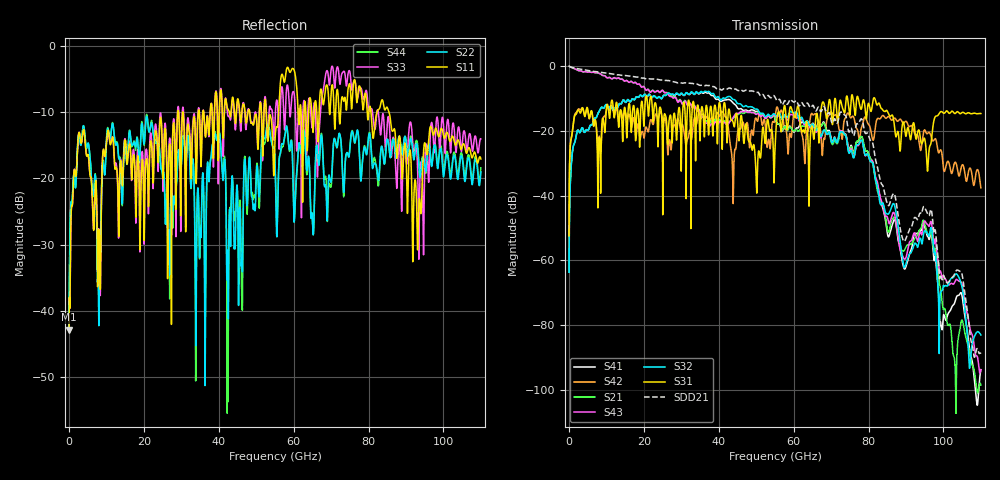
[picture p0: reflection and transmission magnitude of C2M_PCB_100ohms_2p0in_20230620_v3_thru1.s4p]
! Info: Touchstone file created by Circ.  Input file=C2M_PCB_100ohms_2p0in_20230620_v3.circ
# Hz S RI R 50
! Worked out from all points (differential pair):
!   11000 points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, 10 MHz to 110 GHz, reference 50 ohm
!   strongest paths, dB at 10 MHz, 27.51 GHz, 55.01 GHz, 82.51 GHz, 110 GHz:
!     S31: -52.5, -23.6, -25.6, -11.7, -14.7
!     S32: -63.6, -8.6, -15.0, -38.2, -83.0
!     S43: -0.1, -9.6, -15.4, -36.7, -93.8
!     S21: -0.1, -9.4, -15.9, -39.2, -98.5
!     S42: -52.3, -21.8, -15.9, -16.2, -37.6
!     S41: -63.6, -8.8, -16.1, -38.0, -93.7
!   taken as a pair (ports 3,1 in; 4,2 out), SDD21 dB: -0.1, -4.8, -9.6, -32.0, -88.8
!   lowest |S11| = -42.9 dB at 10 MHz (marker M1), VSWR 1.01, Z = 50.7 + j0.246 ohm
!   |S11| at or under -10 dB: start of sweep to 29.01 GHz; 30.43 GHz to 34.51 GHz (4.084 GHz wide, 12.6 % of centre); 85.46 GHz to end of sweep (the widest 3 of 26)
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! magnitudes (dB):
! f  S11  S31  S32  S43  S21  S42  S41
! 10 MHz  -42.9  -52.5  -63.6  -0.1  -0.1  -52.3  -63.6
! 1.93 GHz  -19.2  -14.8  -21.3  -1.0  -1.0  -14.4  -21.2
! 8.46 GHz  -31.7  -36.2  -13.1  -2.5  -2.5  -26.5  -13.1
! 37.02 GHz  -10.9  -15.6  -8.0  -17.8  -17.1  -15.9  -8.4
! 78.09 GHz  -7.2  -13.2  -22.9  -23.0  -21.7  -19.1  -21.8
! 89.46 GHz  -15.7  -17.9  -62.0  -59.5  -57.0  -17.6  -62.4
! 110 GHz  -17.1  -14.7  -83.0  -93.8  -98.5  -37.6  -93.7
